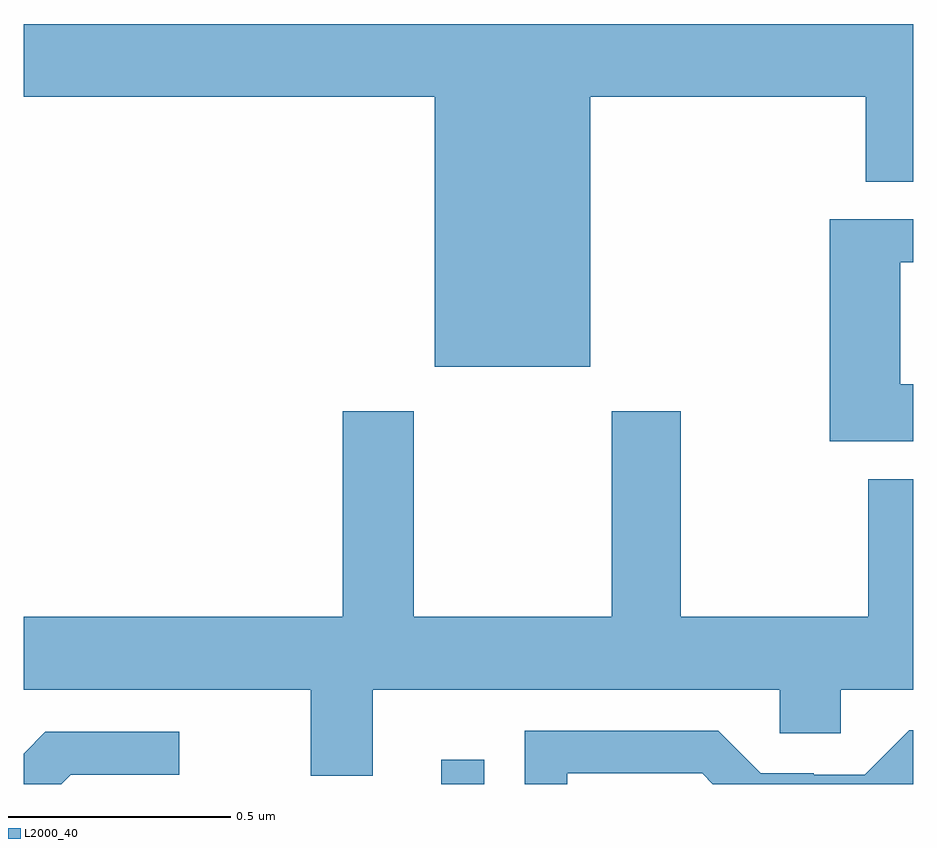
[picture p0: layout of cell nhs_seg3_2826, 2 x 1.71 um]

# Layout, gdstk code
import gdstk
lib = gdstk.Library(unit=1e-6, precision=1e-09)
def R(c, l, rs):  # rectangles x0, y0, x1, y1
    for r in rs: c.add(gdstk.rectangle(r[:2], r[2:], *l))
def P(c, l, *ps):  # polygons
    for p in ps: c.add(gdstk.Polygon(p, *l))
L2000_40 = (2000, 40)

nhs_seg3_2826 = lib.new_cell('nhs_seg3_2826')
R(nhs_seg3_2826, L2000_40, [(146.939,671.4,147.035,671.455)])
P(nhs_seg3_2826, L2000_40, [(147.274,672.944),(147.893,672.944),(147.893,672.754),(148,672.754),(148,673.108),(146,673.108),(146,672.944),(146.924,672.944),(146.924,672.338),(147.274,672.338)],
  [(148,672.298),(147.97,672.298),(147.97,672.573),(148,672.573),(148,672.669),(147.812,672.669),(147.812,672.17),(148,672.17)],
  [(146.785,671.612),(147.699,671.612),(147.699,671.514),(147.837,671.514),(147.837,671.612),(148,671.612),(148,672.085),(147.898,672.085),(147.898,671.776),(147.477,671.776),(147.477,672.238),(147.322,672.238),(147.322,671.776),(146.877,671.776),(146.877,672.238),(146.717,672.238),(146.717,671.776),(146,671.776),(146,671.612),(146.645,671.612),(146.645,671.418),(146.785,671.418)],
  [(147.222,671.424),(147.525,671.424),(147.549,671.4),(148,671.4),(148,671.521),(147.991,671.521),(147.891,671.421),(147.776,671.421),(147.776,671.424),(147.657,671.424),(147.561,671.52),(147.126,671.52),(147.126,671.4),(147.222,671.4)],
  [(146.106,671.421),(146.35,671.421),(146.35,671.517),(146.049,671.517),(146,671.468),(146,671.4),(146.085,671.4)])

lib.write_gds('nhs_seg3_2826.gds')
